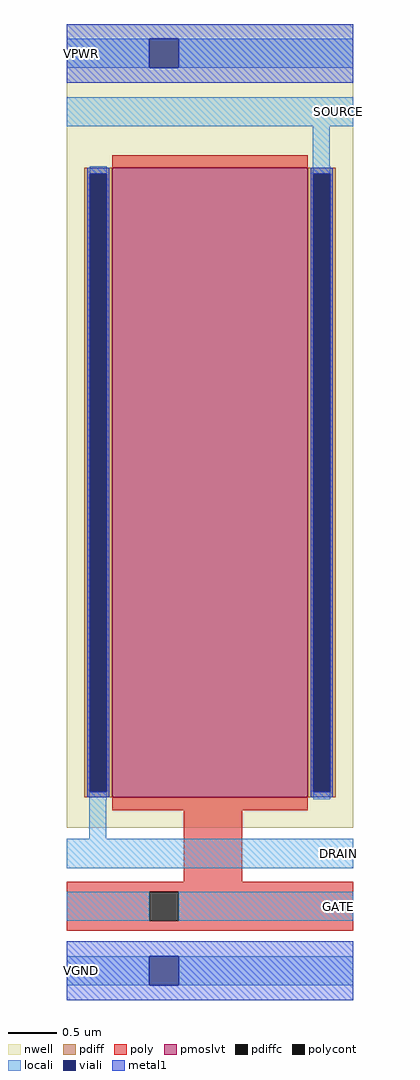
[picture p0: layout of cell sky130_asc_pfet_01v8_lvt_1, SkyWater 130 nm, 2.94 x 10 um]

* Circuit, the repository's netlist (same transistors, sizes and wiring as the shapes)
* NGSPICE file created from sky130_asc_pfet_01v8_lvt_1.ext - technology: sky130A

.subckt sky130_asc_pfet_01v8_lvt_1 GATE SOURCE DRAIN VGND VPWR
X0 SOURCE GATE DRAIN VPWR sky130_fd_pr__pfet_01v8_lvt ad=1.8705e+12p pd=1.348e+07u as=1.8705e+12p ps=1.348e+07u w=6.45e+06u l=2e+06u
.ends

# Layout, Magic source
magic
tech sky130A
magscale 1 2
<< nwell >>
rect 130 293 718 1940
<< pmoslvt >>
rect 224 355 624 1645
<< pdiff >>
rect 166 1633 224 1645
rect 166 367 178 1633
rect 212 367 224 1633
rect 166 355 224 367
rect 624 1633 682 1645
rect 624 367 636 1633
rect 670 367 682 1633
rect 624 355 682 367
<< pdiffc >>
rect 178 367 212 1633
rect 636 367 670 1633
<< poly >>
rect 224 1645 624 1671
rect 224 329 624 355
rect 370 182 490 329
rect 130 162 718 182
rect 130 102 300 162
rect 360 102 718 162
rect 130 82 718 102
<< polycont >>
rect 300 102 360 162
<< locali >>
rect 130 1850 300 1910
rect 360 1850 718 1910
rect 130 1730 718 1790
rect 635 1649 669 1730
rect 178 1633 212 1649
rect 177 367 178 372
rect 635 1633 670 1649
rect 635 1626 636 1633
rect 177 351 212 367
rect 636 351 670 367
rect 177 270 211 351
rect 130 210 718 270
rect 130 102 300 162
rect 360 102 718 162
rect 130 -30 300 30
rect 360 -30 718 30
<< viali >>
rect 300 1850 360 1910
rect 178 367 212 1633
rect 636 367 670 1633
rect 300 -30 360 30
<< metal1 >>
rect 130 1910 718 1940
rect 130 1850 300 1910
rect 360 1850 718 1910
rect 130 1820 718 1850
rect 172 1633 218 1645
rect 172 367 178 1633
rect 212 367 218 1633
rect 172 355 218 367
rect 630 1633 676 1645
rect 630 367 636 1633
rect 670 367 676 1633
rect 630 355 676 367
rect 130 30 718 60
rect 130 -30 300 30
rect 360 -30 718 30
rect 130 -60 718 -30
<< labels >>
flabel metal1 130 1850 190 1910 1 FreeSans 480 0 0 0 VPWR
port 4 n power bidirectional
flabel space 120 1850 180 1910 1 FreeSans 480 0 0 0 VPB
flabel metal1 130 -30 190 30 1 FreeSans 480 0 0 0 VGND
port 5 n ground bidirectional
flabel locali 658 1730 718 1790 1 FreeSans 480 0 0 0 SOURCE
port 2 n signal bidirectional
flabel locali 658 210 718 270 1 FreeSans 480 0 0 0 DRAIN
port 3 n signal bidirectional
flabel locali 658 102 718 162 1 FreeSans 480 0 0 0 GATE
port 1 n signal bidirectional
<< properties >>
string FIXED_BBOX 0 0 926 1880
string LEFclass CORE
string LEFsite unitasc
<< end >>
